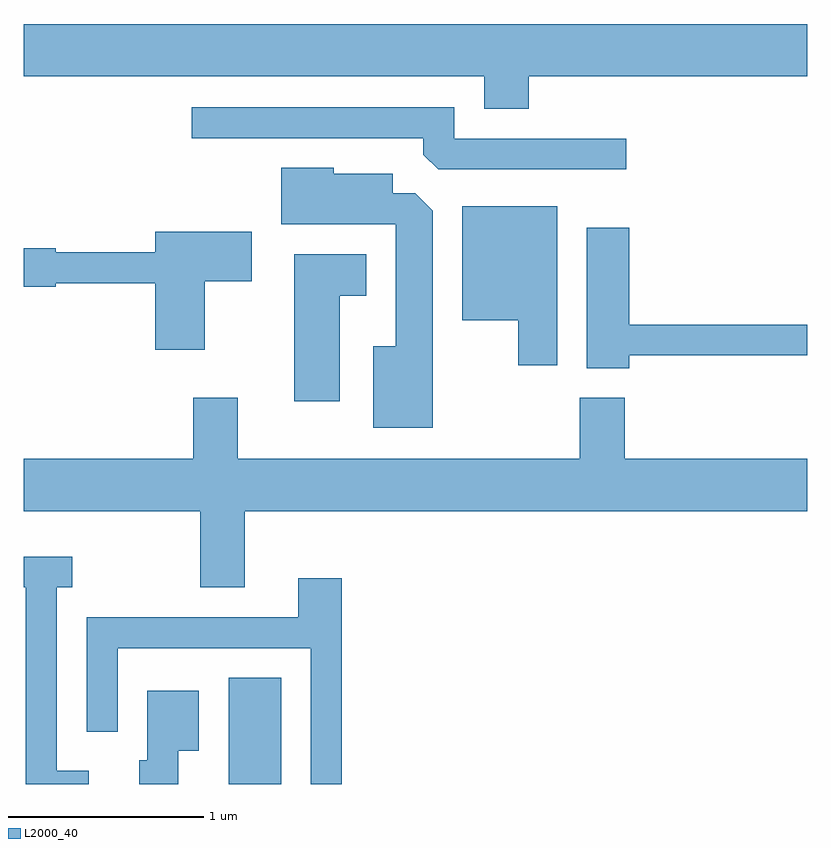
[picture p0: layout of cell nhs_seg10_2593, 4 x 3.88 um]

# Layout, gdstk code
import gdstk
lib = gdstk.Library(unit=1e-6, precision=1e-09)
def R(c, l, rs):  # rectangles x0, y0, x1, y1
    for r in rs: c.add(gdstk.rectangle(r[:2], r[2:], *l))
def P(c, l, *ps):  # polygons
    for p in ps: c.add(gdstk.Polygon(p, *l))
L2000_40 = (2000, 40)

nhs_seg10_2593 = lib.new_cell('nhs_seg10_2593')
R(nhs_seg10_2593, L2000_40, [(262.656,2112.522,262.924,2113.064)])
P(nhs_seg10_2593, L2000_40, [(264.189,2116.136),(265.611,2116.136),(265.611,2116.404),(261.611,2116.404),(261.611,2116.136),(263.961,2116.136),(263.961,2115.971),(264.189,2115.971)],
  [(264.688,2115.819),(263.809,2115.819),(263.809,2115.979),(262.468,2115.979),(262.468,2115.821),(263.651,2115.821),(263.651,2115.737),(263.727,2115.661),(264.688,2115.661)],
  [(263.699,2115.449),(263.609,2115.539),(263.494,2115.539),(263.494,2115.639),(263.194,2115.639),(263.194,2115.669),(262.926,2115.669),(262.926,2115.381),(263.511,2115.381),(263.511,2114.759),(263.396,2114.759),(263.396,2114.341),(263.699,2114.341)],
  [(264.334,2115.474),(263.851,2115.474),(263.851,2114.891),(264.136,2114.891),(264.136,2114.661),(264.334,2114.661)],
  [(264.704,2114.711),(265.611,2114.711),(265.611,2114.869),(264.704,2114.869),(264.704,2115.364),(264.486,2115.364),(264.486,2114.646),(264.704,2114.646)],
  [(262.534,2115.091),(262.774,2115.091),(262.774,2115.344),(262.281,2115.344),(262.281,2115.239),(261.774,2115.239),(261.774,2115.259),(261.611,2115.259),(261.611,2115.061),(261.774,2115.061),(261.774,2115.081),(262.281,2115.081),(262.281,2114.741),(262.534,2114.741)],
  [(263.224,2115.016),(263.359,2115.016),(263.359,2115.229),(262.991,2115.229),(262.991,2114.476),(263.224,2114.476)],
  [(262.739,2113.916),(265.611,2113.916),(265.611,2114.184),(264.679,2114.184),(264.679,2114.494),(264.451,2114.494),(264.451,2114.184),(262.704,2114.184),(262.704,2114.494),(262.476,2114.494),(262.476,2114.184),(261.611,2114.184),(261.611,2113.916),(262.511,2113.916),(262.511,2113.526),(262.739,2113.526)],
  [(261.943,2112.589),(261.779,2112.589),(261.779,2113.526),(261.858,2113.526),(261.858,2113.684),(261.611,2113.684),(261.611,2113.526),(261.621,2113.526),(261.621,2112.522),(261.943,2112.522)],
  [(263.234,2113.574),(263.011,2113.574),(263.011,2113.374),(261.931,2113.374),(261.931,2112.788),(262.089,2112.788),(262.089,2113.216),(263.076,2113.216),(263.076,2112.522),(263.234,2112.522)],
  [(262.399,2112.691),(262.504,2112.691),(262.504,2112.999),(262.241,2112.999),(262.241,2112.644),(262.201,2112.644),(262.201,2112.522),(262.399,2112.522)])

lib.write_gds('nhs_seg10_2593.gds')
